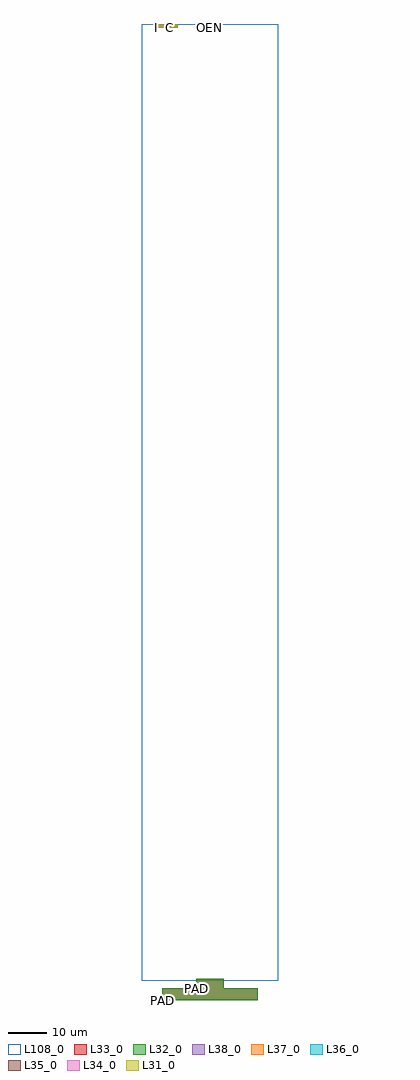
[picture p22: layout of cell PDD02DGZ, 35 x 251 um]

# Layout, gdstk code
import gdstk
lib = gdstk.Library(unit=1e-6, precision=1e-09)
def R(c, l, rs):  # rectangles x0, y0, x1, y1
    for r in rs: c.add(gdstk.rectangle(r[:2], r[2:], *l))
L31_0 = (31, 0)
L32_0 = (32, 0)
L33_0 = (33, 0)
L34_0 = (34, 0)
L35_0 = (35, 0)
L36_0 = (36, 0)
L37_0 = (37, 0)
L38_0 = (38, 0)
L108_0 = (108, 0)

pdd02dgz = lib.new_cell('PDD02DGZ')
R(pdd02dgz, L31_0, [(3.69,245,5.69,246), (7.175,245,9.175,246), (17.295,245,19.295,246)])
R(pdd02dgz, L32_0, [(5.28,-5,29.72,-2), (13.94,-2,21.06,0.5), (3.69,245,5.69,246), (7.175,245,9.175,246), (17.295,245,19.295,246)])
R(pdd02dgz, L33_0, [(5.28,-5,29.72,-2), (13.94,-2,21.06,0.5), (3.69,245,5.69,246), (7.175,245,9.175,246), (17.295,245,19.295,246)])
R(pdd02dgz, L34_0, [(3.69,245,5.69,246), (7.175,245,9.175,246), (17.295,245,19.295,246)])
R(pdd02dgz, L35_0, [(3.69,245,5.69,246), (7.175,245,9.175,246), (17.295,245,19.295,246)])
R(pdd02dgz, L36_0, [(3.69,245,5.69,246), (7.175,245,9.175,246), (17.295,245,19.295,246)])
R(pdd02dgz, L37_0, [(3.69,245,5.69,246), (7.175,245,9.175,246), (17.295,245,19.295,246)])
R(pdd02dgz, L38_0, [(3.69,245,5.69,246), (7.175,245,9.175,246), (17.295,245,19.295,246)])
R(pdd02dgz, L108_0, [(0,0,35,246)])
pdd02dgz.add(gdstk.Label('PAD', (5.28,-5), layer=133, texttype=0))
pdd02dgz.add(gdstk.Label('PAD', (13.94,-2), layer=133, texttype=0))
pdd02dgz.add(gdstk.Label('PAD', (5.28,-5), layer=132, texttype=0))
pdd02dgz.add(gdstk.Label('PAD', (13.94,-2), layer=132, texttype=0))
pdd02dgz.add(gdstk.Label('OEN', (17.295,245), layer=138, texttype=0))
pdd02dgz.add(gdstk.Label('OEN', (17.295,245), layer=137, texttype=0))
pdd02dgz.add(gdstk.Label('OEN', (17.295,245), layer=136, texttype=0))
pdd02dgz.add(gdstk.Label('OEN', (17.295,245), layer=135, texttype=0))
pdd02dgz.add(gdstk.Label('OEN', (17.295,245), layer=134, texttype=0))
pdd02dgz.add(gdstk.Label('OEN', (17.295,245), layer=133, texttype=0))
pdd02dgz.add(gdstk.Label('OEN', (17.295,245), layer=132, texttype=0))
pdd02dgz.add(gdstk.Label('OEN', (17.295,245), layer=131, texttype=0))
pdd02dgz.add(gdstk.Label('I', (3.69,245), layer=138, texttype=0))
pdd02dgz.add(gdstk.Label('I', (3.69,245), layer=137, texttype=0))
pdd02dgz.add(gdstk.Label('I', (3.69,245), layer=136, texttype=0))
pdd02dgz.add(gdstk.Label('I', (3.69,245), layer=135, texttype=0))
pdd02dgz.add(gdstk.Label('I', (3.69,245), layer=134, texttype=0))
pdd02dgz.add(gdstk.Label('I', (3.69,245), layer=133, texttype=0))
pdd02dgz.add(gdstk.Label('I', (3.69,245), layer=132, texttype=0))
pdd02dgz.add(gdstk.Label('I', (3.69,245), layer=131, texttype=0))
pdd02dgz.add(gdstk.Label('C', (7.175,245), layer=138, texttype=0))
pdd02dgz.add(gdstk.Label('C', (7.175,245), layer=137, texttype=0))
pdd02dgz.add(gdstk.Label('C', (7.175,245), layer=136, texttype=0))
pdd02dgz.add(gdstk.Label('C', (7.175,245), layer=135, texttype=0))
pdd02dgz.add(gdstk.Label('C', (7.175,245), layer=134, texttype=0))
pdd02dgz.add(gdstk.Label('C', (7.175,245), layer=133, texttype=0))
pdd02dgz.add(gdstk.Label('C', (7.175,245), layer=132, texttype=0))
pdd02dgz.add(gdstk.Label('C', (7.175,245), layer=131, texttype=0))

lib.write_gds('PDD02DGZ.gds')
